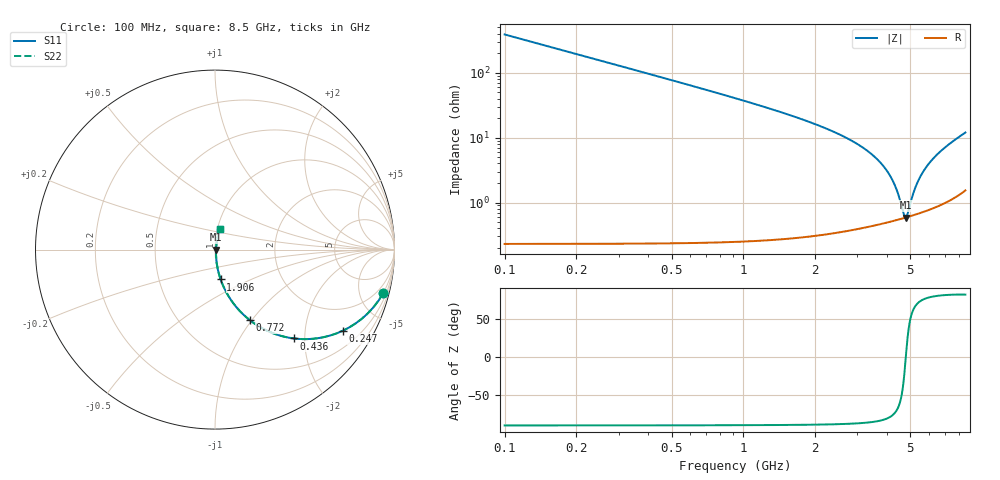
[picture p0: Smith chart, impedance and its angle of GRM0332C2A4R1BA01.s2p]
!Murata Part Number: GRM0332C2A4R1BA01
!These Parameters are Measured in Series Mode Connection
!Data Generated on Mar 30, 2021
!  o--ll--o
!Port1  Port2
!  o------o
!Operation Temp=25[degC], DC Bias Voltage=0[V]
!Freq. Start=100[MHz] Stop=9[GHz] 401[Steps]
# Hz S RI R 50
!Freq.(Hz) S11(Real) S11(Imag) S21(Real) S21(Imag) S12(Real) S12(Imag) S22(Real) S22(Imag)
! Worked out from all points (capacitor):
!   401 points, 100 MHz to 8.5 GHz, reference 50 ohm
!   read as one part in series: C = 4.1 pF near 142 MHz
!   lowest |Z| = 587 mohm at 4.783 GHz (marker M1)
!   series resonance near 4.785 GHz, so ESL is about 270 pH
!   S11 on the Smith chart (normalised r, x): 100 MHz: 1.00, -7.76; 247 MHz: 1.00, -3.14; 436 MHz: 1.00, -1.77; 772 MHz: 1.00, -0.98; 1.906 GHz: 1.01, -0.34; 8.5 GHz: 1.03, +0.24
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1e8  0.9376 -0.2416  0.0624 0.2416  0.0624 0.2416  0.9376 -0.2416
2.47e8  0.7105 -0.4528  0.2895 0.4528  0.2895 0.4528  0.7105 -0.4528
4.36e8  0.4383 -0.4949  0.5617 0.4949  0.5617 0.4949  0.4383 -0.4949
5.83e8  0.3016 -0.4572  0.6984 0.4572  0.6984 0.4572  0.3016 -0.4572
7.72e8  0.1948 -0.3936  0.8052 0.3936  0.8052 0.3936  0.1948 -0.3936
1.066e9  0.109 -0.308  0.891 0.308  0.891 0.308  0.109 -0.308
1.507e9  0.0537 -0.2196  0.9463 0.2196  0.9463 0.2196  0.0537 -0.2196
1.906e9  0.0315 -0.1662  0.9685 0.1662  0.9685 0.1662  0.0315 -0.1662
2.914e9  0.0109 -0.0835  0.9891 0.0835  0.9891 0.0835  0.0109 -0.0835
3.754e9  0.00625 -0.0402  0.9937 0.0402  0.9937 0.0402  0.00625 -0.0402
4.048e9  0.00572 -0.0277  0.9943 0.0277  0.9943 0.0277  0.00572 -0.0277
4.3e9  0.00556 -0.0177  0.9944 0.0177  0.9944 0.0177  0.00556 -0.0177
4.468e9  0.00557 -0.0114  0.9944 0.0114  0.9944 0.0114  0.00557 -0.0114
4.699e9  0.00574 -0.00301  0.9943 0.00301  0.9943 0.00301  0.00574 -0.00301
4.783e9  0.00584 -6.14e-05  0.9942 6.14e-05  0.9942 6.14e-05  0.00584 -6.14e-05
4.867e9  0.00595 0.00285  0.994 -0.00285  0.994 -0.00285  0.00595 0.00285
5.098e9  0.00637 0.0106  0.9936 -0.0106  0.9936 -0.0106  0.00637 0.0106
5.266e9  0.00676 0.0162  0.9932 -0.0162  0.9932 -0.0162  0.00676 0.0162
5.707e9  0.00808 0.0301  0.9919 -0.0301  0.9919 -0.0301  0.00808 0.0301
6.295e9  0.0105 0.0479  0.9895 -0.0479  0.9895 -0.0479  0.0105 0.0479
7.114e9  0.0153 0.072  0.9847 -0.072  0.9847 -0.072  0.0153 0.072
8.5e9  0.0284 0.1136  0.9716 -0.1136  0.9716 -0.1136  0.0284 0.1136
